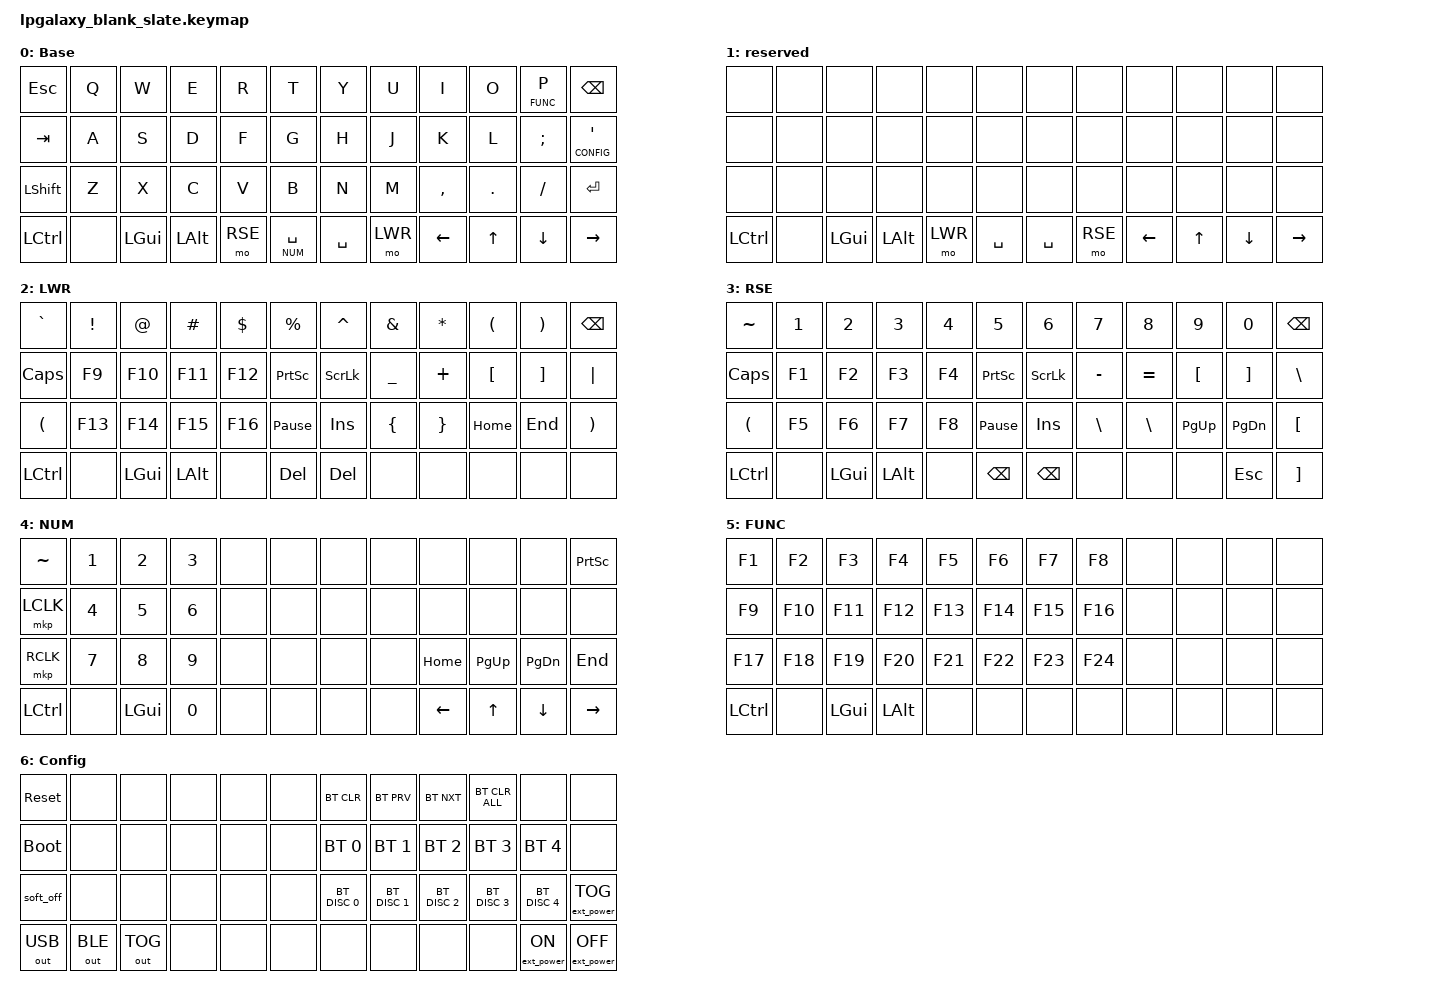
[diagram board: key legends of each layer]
/*
 * Copyright (c) 2022 Pete Johanson
 *
 * SPDX-License-Identifier: MIT
 */

#include <behaviors.dtsi>
#include <dt-bindings/zmk/keys.h>
#include <dt-bindings/zmk/bt.h>
#include <dt-bindings/zmk/mouse.h>
#include <dt-bindings/zmk/outputs.h>
#include <dt-bindings/zmk/ext_power.h>
#include "numpad_extra_keys.h"
#include "consumer_extra_keys.h"
#include "custom_modifiers.h"

#define COPILOT  LSGK(F23)
// linux unicode input
#define LUC      LSCK(U)
// Windows unicode input
#define WUC      LA(X)

#define QWERTY_BASE 1

#define TBLE_ORTHO  1

// layers
#define DEFAULT         0
#define QWERTY          0
#define RESERVED        1
#define RSE             2
#define LWR             3
#define NUM             4
#define FUNC            5
#define CONFIG          6


/*
 * Key numbering cheat sheet:
 * 
 * 0     1    2   3   4   5   6  7    8    9  10   11
 * ESQ   Q    W   E   R   T   Y  U    I    O  P    BKSP
 * 
 * 12    13   14  15  16  17  18 19   20   21 22   23
 * TAB   A    S   D   F   G   H  J    K    L  ;    QUOT 
 *  
 * 24    25   26  27  28  29  30 31   32   33 34   35
 * Shift Z    X   C   V   B   N   M   ,    .  /    RET
 *
 * 36    37   38  39  40  41  42  43  44   45 46   47
 * CTRL  none GUI ALT RSE SPC SPC LWR LEFT UP DOWN RIGHT
 */

#define BT(n) BT_SEL n

/ {
    chosen {
       zmk,matrix_transform =
                       &ortho_transform;
    };
    

    keymap {
        compatible = "zmk,keymap";

        base_layer {
            label = "Base";
            bindings = <
              &kp ESC    &kp Q      &kp W      &kp E       &kp R          &kp T          &kp Y            &kp U          &kp I       &kp O      &lt FUNC P     &kp        BKSP
              &kp TAB    &kp A      &kp S      &kp D       &kp F          &kp G          &kp H            &kp J          &kp K       &kp L      &kp      SEMI  &lt CONFIG QUOT
              &kp LSHFT  &kp Z      &kp X      &kp C       &kp V          &kp B          &kp N            &kp M          &kp COMMA   &kp DOT    &kp      FSLH  &kp        RET
              &kp LCTRL  &none      &kp LGUI  &kp LALT     &mo RSE        &lt NUM SPACE  &kp SPACE        &mo LWR        &kp LEFT    &kp UP     &kp      DOWN  &kp        RIGHT
            >;
        };

        reserved_layer {
            label = "reserved";
            bindings = <
              &none      &none      &none     &none        &none          &none          &none            &none          &none       &none      &none     &none
              &none      &none      &none     &none        &none          &none          &none            &none          &none       &none      &none     &none
              &none      &none      &none     &none        &none          &none          &none            &none          &none       &none      &none     &none
              &kp LCTRL  &none      &kp LGUI  &kp LALT     &mo LWR        &kp SPACE      &kp SPACE        &mo RSE        &kp LEFT    &kp UP     &kp DOWN  &kp RIGHT
            >;
        };

        lwr_layer {
            label = "LWR";
            bindings = <
	      &kp   GRAVE   &kp   EXCL      &kp   AT       &kp   HASH        &kp   DOLLAR        &kp   PERCENT        &kp   CARET          &kp   AMPS          &kp   ASTERISK   &kp   LPAR        &kp   RPAR        &kp   BKSP
              &kp   CAPS    &kp   F9        &kp   F10      &kp   F11         &kp   F12           &kp   PRINTSCREEN    &kp   SCROLLLOCK     &kp   UNDER         &kp   PLUS       &kp   LBKT        &kp   RBKT        &kp   PIPE
              &kp   LPAR    &kp   F13       &kp   F14      &kp   F15         &kp   F16           &kp   PAUSE_BREAK    &kp   INS            &kp   LBRC          &kp   RBRC       &kp   HOME        &kp   END         &kp   RPAR
	      &kp   LCTRL   &none           &kp   LGUI     &kp   LALT        &none               &kp   DEL            &kp   DEL            &none               &none            &none             &none             &none 
            >;
        };

        rse_layer {
            label = "RSE";
            bindings = <
	      &kp   TILDE   &kp   NUMBER_1  &kp   NUMBER_2 &kp   NUMBER_3    &kp   NUMBER_4      &kp   NUMBER_5       &kp   NUMBER_6       &kp   NUMBER_7      &kp   NUMBER_8   &kp   NUMBER_9    &kp   NUMBER_0    &kp   BKSP
              &kp   CAPS    &kp   F1        &kp   F2       &kp   F3          &kp   F4            &kp   PRINTSCREEN    &kp   SCROLLLOCK     &kp   MINUS         &kp   EQUAL      &kp   LBKT        &kp   RBKT        &kp   BACKSLASH
              &kp   LPAR    &kp   F5        &kp   F6       &kp   F7          &kp   F8            &kp   PAUSE_BREAK    &kp   INS            &kp   BACKSLASH     &kp   BACKSLASH  &kp   PAGE_UP     &kp   PAGE_DOWN   &kp   LBKT
	      &kp   LCTRL   &none           &kp   LGUI     &kp   LALT        &none               &kp   BKSP           &kp   BKSP           &none               &none            &none             &kp   ESC         &kp   RBKT 
            >;
        };

        number_layer {
                        label = "NUM";
                            bindings = <
              &kp TILDE         &kp NUMBER_1   &kp NUMBER_2   &kp NUMBER_3   &none               &none                &none                &none                &none           &none             &none             &kp PRINTSCREEN
              &mkp LCLK         &kp NUMBER_4   &kp NUMBER_5   &kp NUMBER_6   &none               &none                &none                &none                &none           &none             &none             &none
	      &mkp RCLK         &kp NUMBER_7   &kp NUMBER_8   &kp NUMBER_9   &none               &none                &none                &none                &kp HOME        &kp PAGE_UP       &kp  PAGE_DOWN    &kp   END
              &kp LCTRL         &none          &kp LGUI       &kp NUMBER_0   &none               &none                &none                &none                &kp LEFT        &kp UP            &kp  DOWN         &kp   RIGHT
                        >;
                };

        func_layer {
            label = "FUNC";
            bindings = <
              &kp   F1      &kp   F2       &kp  F3         &kp    F4         &kp   F5            &kp   F6             &kp   F7            &kp   F8             &none            &none             &none             &none
              &kp   F9      &kp   F10      &kp  F11        &kp   F12         &kp   F13           &kp   F14            &kp   F15           &kp   F16            &none            &none             &none             &none
	      &kp   F17     &kp   F18      &kp  F19        &kp   F20         &kp   F21           &kp   F22            &kp   F23           &kp   F24            &none            &none             &none             &none
	      &kp   LCTRL   &none          &kp   LGUI      &kp   LALT        &none               &none                &none               &none                &none            &none             &none             &none 
            >;
        };

        config_layer {
            label = "Config";
            bindings = <
              &sys_reset     &none         &none         &none           &none           &none     &bt  BT_CLR        &bt BT_PRV        &bt BT_NXT      &bt BT_CLR_ALL    &none             &none 
              &bootloader    &none         &none         &none           &none           &none     &bt  BT_SEL 0      &bt BT_SEL 1      &bt BT_SEL 2    &bt BT_SEL 3      &bt BT_SEL 4      &none 
              &soft_off      &none         &none         &none           &none           &none     &bt  BT_DISC 0     &bt BT_DISC 1     &bt BT_DISC 2   &bt BT_DISC 3     &bt BT_DISC 4     &ext_power EP_TOG
              &out  OUT_USB  &out  OUT_BLE &out  OUT_TOG &none           &none           &none     &none              &none             &none           &none             &ext_power EP_ON  &ext_power EP_OFF      
            >;
        };

    };
};
